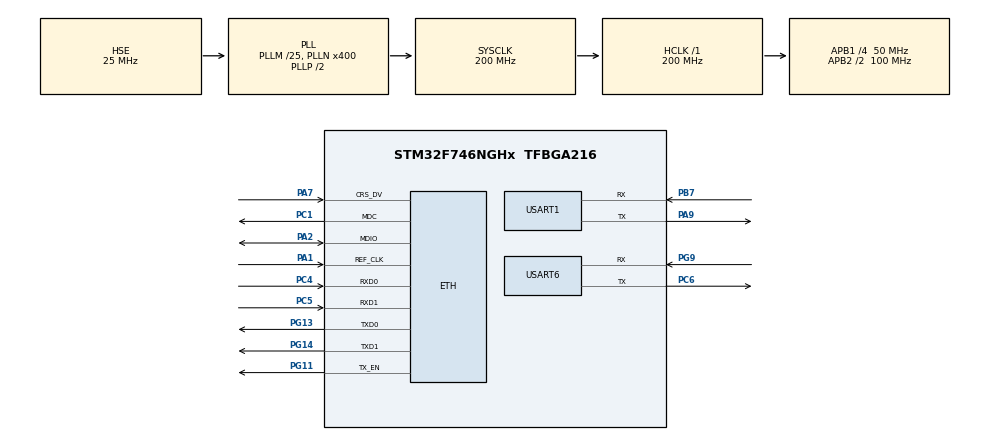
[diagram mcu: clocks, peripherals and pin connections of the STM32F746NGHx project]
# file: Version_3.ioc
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ETH.MediaInterface=ETH_MEDIA_INTERFACE_RMII
ETH.PhyAddress=0
ETH.RxMode=ETH_RXINTERRUPT_MODE
FREERTOS.Tasks01=defaultTask,24,128,StartDefaultTask,Default,NULL,Dynamic,NULL,NULL
FREERTOS.configUSE_NEWLIB_REENTRANT=1
LWIP.IP_ADDRESS=111.111.111.011
LWIP.LWIP_DHCP=0
LWIP.MEM_SIZE=10*1024
LWIP.NETMASK_ADDRESS=255.255.255.000
LWIP.Version=v2.1.2_Cube
Mcu.Family=STM32F7
Mcu.Name=STM32F746NGHx
Mcu.Package=TFBGA216
NVIC.ETH_IRQn=true\:5\:0\:false\:false\:true\:true\:false\:true
NVIC.PriorityGroup=NVIC_PRIORITYGROUP_4
NVIC.USART1_IRQn=true\:5\:0\:false\:false\:true\:true\:true\:true
NVIC.USART6_IRQn=true\:5\:0\:false\:false\:true\:true\:true\:true
PA1.Mode=RMII
PA1.Signal=ETH_REF_CLK
PA13.Mode=Serial_Wire
PA13.Signal=SYS_JTMS-SWDIO
PA14.Mode=Serial_Wire
PA14.Signal=SYS_JTCK-SWCLK
PA2.Mode=RMII
PA2.Signal=ETH_MDIO
PA7.Mode=RMII
PA7.Signal=ETH_CRS_DV
PA9.Mode=Asynchronous
PA9.Signal=USART1_TX
PB7.Mode=Asynchronous
PB7.Signal=USART1_RX
PC1.Mode=RMII
PC1.Signal=ETH_MDC
PC14/OSC32_IN.Mode=LSE-External-Oscillator
PC14/OSC32_IN.Signal=RCC_OSC32_IN
PC15/OSC32_OUT.Mode=LSE-External-Oscillator
PC15/OSC32_OUT.Signal=RCC_OSC32_OUT
PC4.Mode=RMII
PC4.Signal=ETH_RXD0
PC5.Mode=RMII
PC5.Signal=ETH_RXD1
PC6.Mode=Asynchronous
PC6.Signal=USART6_TX
PG11.Mode=RMII
PG11.Signal=ETH_TX_EN
PG13.Mode=RMII
PG13.Signal=ETH_TXD0
PG14.Mode=RMII
PG14.Signal=ETH_TXD1
PG9.Mode=Asynchronous
PG9.Signal=USART6_RX
PH0/OSC_IN.Mode=HSE-External-Oscillator
PH0/OSC_IN.Signal=RCC_OSC_IN
PH1/OSC_OUT.Mode=HSE-External-Oscillator
PH1/OSC_OUT.Signal=RCC_OSC_OUT
ProjectManager.HeapSize=0x200
ProjectManager.StackSize=0x400
ProjectManager.TargetToolchain=STM32CubeIDE
RCC.AHBFreq_Value=200000000
RCC.APB1CLKDivider=RCC_HCLK_DIV4
RCC.APB1Freq_Value=50000000
RCC.APB1TimFreq_Value=100000000
RCC.APB2CLKDivider=RCC_HCLK_DIV2
RCC.APB2Freq_Value=100000000
RCC.APB2TimFreq_Value=200000000
RCC.CortexFreq_Value=200000000
RCC.HCLKFreq_Value=200000000
RCC.HSE_VALUE=25000000
RCC.HSI_VALUE=16000000
RCC.PLL48CLockSelection=RCC_CLK48SOURCE_PLLSAIP
RCC.PLLI2SN=100
RCC.PLLM=25
RCC.PLLN=400
RCC.PLLQ=9
RCC.PLLSAIN=384
RCC.PLLSAIP=RCC_PLLSAIP_DIV8
RCC.PLLSAIR=5
RCC.PLLSAIRDiv=RCC_PLLSAIDIVR_8
RCC.PLLSourceVirtual=RCC_PLLSOURCE_HSE
RCC.SDMMCClockSelection=RCC_SDMMC1CLKSOURCE_CLK48
RCC.SYSCLKFreq_VALUE=200000000
RCC.SYSCLKSource=RCC_SYSCLKSOURCE_PLLCLK
RCC.USBFreq_Value=48000000
RCC.VCOOutputFreq_Value=400000000
USART1.VirtualMode-Asynchronous=VM_ASYNC
USART6.VirtualMode-Asynchronous=VM_ASYNC
VP_FREERTOS_VS_CMSIS_V2.Mode=CMSIS_V2
VP_LWIP_VS_Enabled.Mode=Enabled
board=STM32F746G-DISCO

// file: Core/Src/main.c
/* USER CODE BEGIN Header */
/**
  ******************************************************************************
  * @file           : main.c
  * @brief          : Main program body
  ******************************************************************************
  * @attention
  *
  * Copyright (c) 2022 STMicroelectronics.
  * All rights reserved.
  *
  * This software is licensed under terms that can be found in the LICENSE file
  * in the root directory of this software component.
  * If no LICENSE file comes with this software, it is provided AS-IS.
  *
  ******************************************************************************
  */
/* USER CODE END Header */
#include "main.h"
#include "cmsis_os.h"
#include "lwip.h"

/* USER CODE BEGIN Includes */
#include "Modbus.h"
#include "ModbusDevice.h"
	#include "semphr.h"
	#include "cmsis_os.h"
	#include "stm32f7xx_hal.h"
  	#include "FreeRTOS.h"
	#include "queue.h"
	#include "task.h"
/* USER CODE END Includes */

/* USER CODE BEGIN PTD */
// #define huart1    MODBUS_UART_PORT
/* USER CODE END PTD */

UART_HandleTypeDef huart1;
UART_HandleTypeDef huart6;

/* Definitions for defaultTask */
osThreadId_t defaultTaskHandle;
const osThreadAttr_t defaultTask_attributes = {
  .name = "defaultTask",
  .stack_size = 128 * 4,
  .priority = (osPriority_t) osPriorityNormal,
};

void SystemClock_Config(void);
static void MX_GPIO_Init(void);
static void MX_USART1_UART_Init(void);
static void MX_USART6_UART_Init(void);
void StartDefaultTask(void *argument);

/* USER CODE BEGIN PFP */

/**------------------------ Variables ---------------------------**/

/* USER CODE END PFP */

int main(void)
{

  /* MCU Configuration--------------------------------------------------------*/

  /* Reset of all peripherals, Initializes the Flash interface and the Systick. */
  HAL_Init();

  /* Configure the system clock */
  SystemClock_Config();

  /* Initialize all configured peripherals */
  MX_GPIO_Init();
  MX_USART1_UART_Init();
  MX_USART6_UART_Init();
  /* USER CODE BEGIN 2 */
  /* Modbus Slave initialization */

    //Initialize Modbus library
  SModbus_Init();
  MMaster_Init();
  /* USER CODE END 2 */

  /* Init scheduler */
  osKernelInitialize();

  /* Create the thread(s) */
  /* creation of defaultTask */
  defaultTaskHandle = osThreadNew(StartDefaultTask, NULL, &defaultTask_attributes);

  /* Start scheduler */
  osKernelStart();

  /* We should never get here as control is now taken by the scheduler */
  /* Infinite loop */
  while (1)
  {

  }
}

void SystemClock_Config(void)
{
  RCC_OscInitTypeDef RCC_OscInitStruct = {0};
  RCC_ClkInitTypeDef RCC_ClkInitStruct = {0};

  /** Configure LSE Drive Capability
  */
  HAL_PWR_EnableBkUpAccess();
  /** Configure the main internal regulator output voltage
  */
  __HAL_RCC_PWR_CLK_ENABLE();
  __HAL_PWR_VOLTAGESCALING_CONFIG(PWR_REGULATOR_VOLTAGE_SCALE1);
  /** Initializes the RCC Oscillators according to the specified parameters
  * in the RCC_OscInitTypeDef structure.
  */
  RCC_OscInitStruct.OscillatorType = RCC_OSCILLATORTYPE_HSE;
  RCC_OscInitStruct.HSEState = RCC_HSE_ON;
  RCC_OscInitStruct.PLL.PLLState = RCC_PLL_ON;
  RCC_OscInitStruct.PLL.PLLSource = RCC_PLLSOURCE_HSE;
  RCC_OscInitStruct.PLL.PLLM = 25;
  RCC_OscInitStruct.PLL.PLLN = 400;
  RCC_OscInitStruct.PLL.PLLP = RCC_PLLP_DIV2;
  RCC_OscInitStruct.PLL.PLLQ = 9;
  if (HAL_RCC_OscConfig(&RCC_OscInitStruct) != HAL_OK)
  {
    Error_Handler();
  }
  /** Activate the Over-Drive mode
  */
  if (HAL_PWREx_EnableOverDrive() != HAL_OK)
  {
    Error_Handler();
  }
  /** Initializes the CPU, AHB and APB buses clocks
  */
  RCC_ClkInitStruct.ClockType = RCC_CLOCKTYPE_HCLK|RCC_CLOCKTYPE_SYSCLK
                              |RCC_CLOCKTYPE_PCLK1|RCC_CLOCKTYPE_PCLK2;
  RCC_ClkInitStruct.SYSCLKSource = RCC_SYSCLKSOURCE_PLLCLK;
  RCC_ClkInitStruct.AHBCLKDivider = RCC_SYSCLK_DIV1;
  RCC_ClkInitStruct.APB1CLKDivider = RCC_HCLK_DIV4;
  RCC_ClkInitStruct.APB2CLKDivider = RCC_HCLK_DIV2;

  if (HAL_RCC_ClockConfig(&RCC_ClkInitStruct, FLASH_LATENCY_6) != HAL_OK)
  {
    Error_Handler();
  }
}

static void MX_USART1_UART_Init(void)
{

  huart1.Instance = USART1;
  huart1.Init.BaudRate = 115200;
  huart1.Init.WordLength = UART_WORDLENGTH_8B;
  huart1.Init.StopBits = UART_STOPBITS_1;
  huart1.Init.Parity = UART_PARITY_NONE;
  huart1.Init.Mode = UART_MODE_TX_RX;
  huart1.Init.HwFlowCtl = UART_HWCONTROL_NONE;
  huart1.Init.OverSampling = UART_OVERSAMPLING_16;
  huart1.Init.OneBitSampling = UART_ONE_BIT_SAMPLE_DISABLE;
  huart1.AdvancedInit.AdvFeatureInit = UART_ADVFEATURE_NO_INIT;
  if (HAL_UART_Init(&huart1) != HAL_OK)
  {
    Error_Handler();
  }

}

static void MX_USART6_UART_Init(void)
{

  huart6.Instance = USART6;
  huart6.Init.BaudRate = 115200;
  huart6.Init.WordLength = UART_WORDLENGTH_8B;
  huart6.Init.StopBits = UART_STOPBITS_1;
  huart6.Init.Parity = UART_PARITY_NONE;
  huart6.Init.Mode = UART_MODE_TX_RX;
  huart6.Init.HwFlowCtl = UART_HWCONTROL_NONE;
  huart6.Init.OverSampling = UART_OVERSAMPLING_16;
  huart6.Init.OneBitSampling = UART_ONE_BIT_SAMPLE_DISABLE;
  huart6.AdvancedInit.AdvFeatureInit = UART_ADVFEATURE_NO_INIT;
  if (HAL_UART_Init(&huart6) != HAL_OK)
  {
    Error_Handler();
  }

}

static void MX_GPIO_Init(void)
{

  /* GPIO Ports Clock Enable */
  __HAL_RCC_GPIOG_CLK_ENABLE();
  __HAL_RCC_GPIOA_CLK_ENABLE();
  __HAL_RCC_GPIOB_CLK_ENABLE();
  __HAL_RCC_GPIOC_CLK_ENABLE();
  __HAL_RCC_GPIOH_CLK_ENABLE();

}

void StartDefaultTask(void *argument)
{
  /* init code for LWIP */
  MX_LWIP_Init();
  /* USER CODE BEGIN 5 */

  /* Infinite loop */
  for(;;)
  {
    osDelay(100);
    	if(xSemaphoreTake((QueueHandle_t)Master_Modbus.ModBusSphrHandle , 300)==pdTRUE)
	   {
	       modbus_t telegram[1];
	       telegram[0].u8id = 1; // slave address
	       telegram[0].u8fct = MB_FC_READ_REGISTERS; // function code (this one is registers write)
	       telegram[0].u16RegAdd = 0x0;
	       telegram[0].u16CoilsNo = 1; // number of elements (coils or registers) to read
	       telegram[0].u16reg = Master_ModbusData; // pointer to a memory array
	       ModbusQuery(&Master_Modbus, telegram[0]);
	       //if(reg != ModbusDATARX[0])
	       //{
		    // reg = Master_ModbusData[0];
	       // }
	       xSemaphoreGive((QueueHandle_t)Master_Modbus.ModBusSphrHandle);
	   }
  }
  /* USER CODE END 5 */
}

void Error_Handler(void)
{
  __disable_irq();
  while (1)
  {
  }
}
